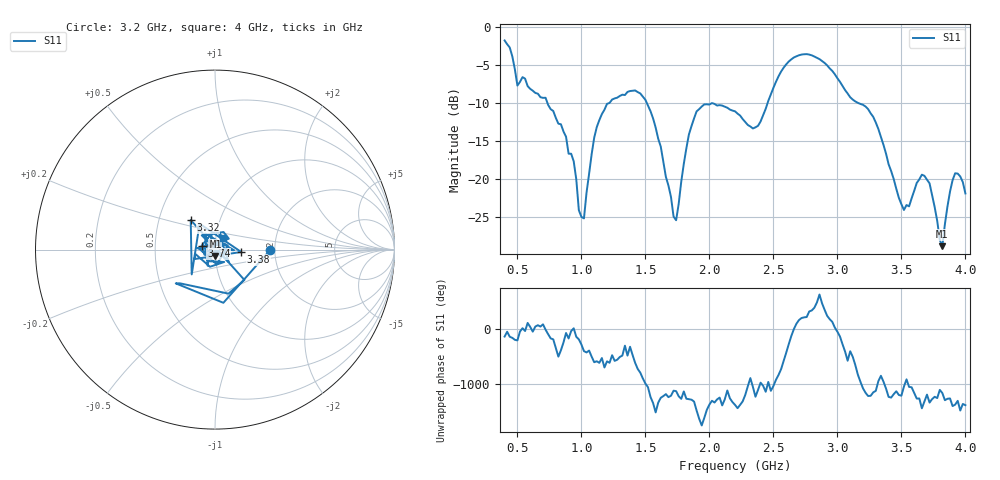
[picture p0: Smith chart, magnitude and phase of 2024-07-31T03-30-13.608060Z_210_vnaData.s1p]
!Created with skrf (http://scikit-rf.org).
# Hz S RI R 50.0
!freq ReS11 ImS11
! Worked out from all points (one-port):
!   181 points, 400 MHz to 4 GHz, reference 50 ohm
!   lowest |S11| = -28.9 dB at 3.82 GHz (marker M1), VSWR 1.07, Z = 50.1 - j3.6 ohm
!   |S11| at or under -10 dB: 734.9 MHz to 1.216 GHz (481.3 MHz wide, 49.3 % of centre); 1.511 GHz to 2.455 GHz (943.2 MHz wide, 47.6 % of centre); 3.164 GHz to end of sweep
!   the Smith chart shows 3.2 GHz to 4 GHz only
!   S11 on the Smith chart (normalised r, x): 3.2 GHz: 1.89, -0.01; 3.32 GHz: 0.73, +0.25; 3.38 GHz: 1.34, -0.04; 3.74 GHz: 0.86, +0.04; 4 GHz: 1.09, +0.14
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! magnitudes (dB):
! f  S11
! 400 MHz  -1.7
! 500 MHz  -7.7
! 720 MHz  -9.3
! 860 MHz  -13.7
! 1.02 GHz  -25.2
! 1.12 GHz  -13.2
! 1.3 GHz  -9.1
! 1.5 GHz  -9.6
! 1.62 GHz  -15.7
! 1.72 GHz  -25.0
! 1.76 GHz  -23.3
! 1.84 GHz  -14.1
! 1.9 GHz  -11.1
! 2.2 GHz  -11.1
! 2.38 GHz  -13.0
! 2.66 GHz  -4.0
! 2.86 GHz  -4.2
! 3.1 GHz  -9.2
! 3.2 GHz  -10.2
! 3.32 GHz  -13.4
! 3.38 GHz  -16.7
! 3.5 GHz  -23.3
! 3.56 GHz  -23.6
! 3.66 GHz  -19.4
! 3.74 GHz  -22.2
! 3.82 GHz  -28.9
! 3.92 GHz  -19.3
! 4 GHz  -21.9
